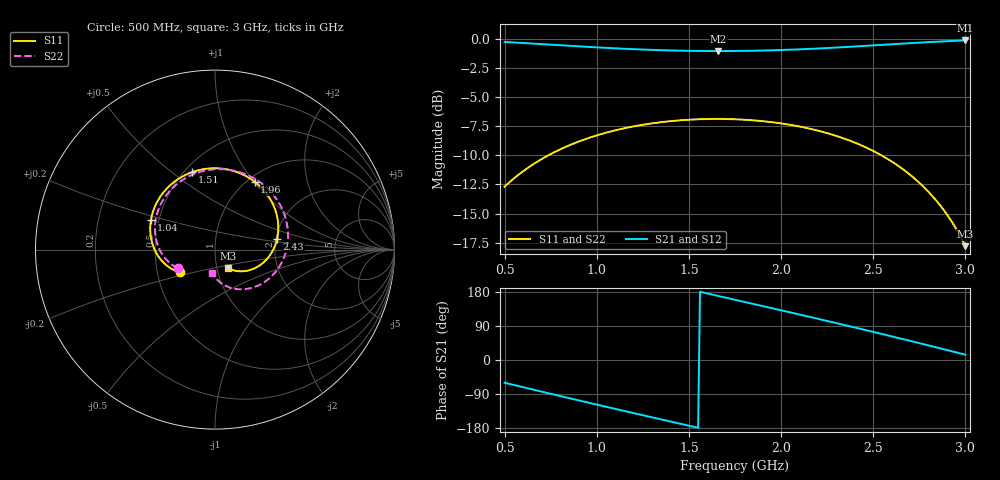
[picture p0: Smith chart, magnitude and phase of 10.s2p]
!freq-unit  param-type  data-format  keyword  impedance-ohms
# GHZ  S  RI  R  50
!Freq  ReS11  ImS11  ReS21  ImS21  ReS12  ImS12  ReS22  ImS22
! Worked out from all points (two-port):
!   251 points, 500 MHz to 3 GHz, reference 50 ohm
!   highest |S21| = -0.13 dB at 3 GHz (marker M1); lowest = -1.0 dB at 1.66 GHz (marker M2)
!   |S21| within 3 dB of the highest: start of sweep to end of sweep
!   lowest |S11| = -17.8 dB at 3 GHz (marker M3), VSWR 1.30, Z = 56.7 - j12.1 ohm
!   |S11| at or under -10 dB: start of sweep to 737 MHz; 2.544 GHz to end of sweep
!   |S22| runs from -17.8 to -6.9 dB; largest |S21 - S12| = 0
!   S11 on the Smith chart (normalised r, x): 500 MHz: 0.66, -0.18; 1.04 GHz: 0.45, +0.18; 1.51 GHz: 0.55, +0.59; 1.96 GHz: 1.08, +1.01; 2.43 GHz: 2.03, +0.27; 3 GHz: 1.13, -0.24
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0.5  -0.1939 -0.1275  0.485 -0.8408  0.485 -0.8408  -0.2078 -0.1033
0.61  -0.2552 -0.0989  0.2813 -0.9173  0.2813 -0.9173  -0.2669 -0.0603
0.71  -0.3028 -0.0549  0.0895 -0.9447  0.0895 -0.9447  -0.3076 -0.00208
0.81  -0.3379 0.00311  -0.1 -0.933  -0.1 -0.933  -0.3306 0.0694
0.92  -0.3585 0.0781  -0.297 -0.8783  -0.297 -0.8783  -0.3319 0.1562
1.04  -0.3567 0.1662  -0.4889 -0.7747  -0.4889 -0.7747  -0.3029 0.2509
1.19  -0.3182 0.2735  -0.683 -0.5924  -0.683 -0.5924  -0.2252 0.3538
1.34  -0.2434 0.3643  -0.8159 -0.368  -0.8159 -0.368  -0.1114 0.4234
1.51  -0.1256 0.4323  -0.8847 -0.085  -0.8847 -0.085  0.0412 0.4481
1.66  -0.00584 0.4533  -0.8704 0.17  -0.8704 0.17  0.1759 0.4176
1.75  0.0672 0.4468  -0.8286 0.3178  -0.8286 0.3178  0.2485 0.377
1.85  0.1449 0.4229  -0.7541 0.4721  -0.7541 0.4721  0.3167 0.3152
1.96  0.2214 0.378  -0.6401 0.624  -0.6401 0.624  0.3716 0.2313
2.07  0.2837 0.3163  -0.4959 0.7511  -0.4959 0.7511  0.4018 0.1374
2.17  0.3245 0.2493  -0.3423 0.84  -0.3423 0.84  0.4059 0.0495
2.3  0.3511 0.1536  -0.1178 0.9105  -0.1178 0.9105  0.3786 -0.0577
2.43  0.3458 0.0581  0.1234 0.9225  0.1234 0.9225  0.3189 -0.1452
2.59  0.2981 -0.0425  0.421 0.8488  0.421 0.8488  0.2155 -0.2099
2.68  0.2552 -0.0838  0.5772 0.7633  0.5772 0.7633  0.152 -0.2213
2.78  0.1992 -0.1125  0.7314 0.6327  0.7314 0.6327  0.085 -0.2122
2.89  0.1344 -0.1208  0.8669 0.4505  0.8669 0.4505  0.0243 -0.1789
3  0.0751 -0.1047  0.956 0.2368  0.956 0.2368  -0.0145 -0.1279
